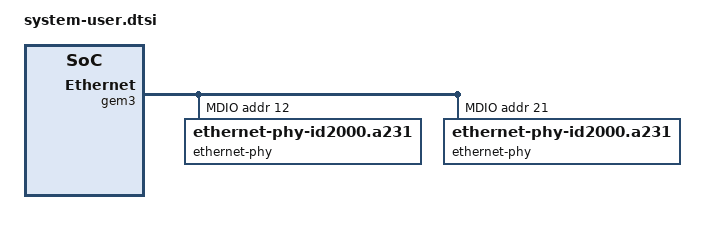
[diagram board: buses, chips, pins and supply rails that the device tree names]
// SPDX-License-Identifier: MIT
// Copyright (C) 2025-2026, Opsero Electronic Design Inc.  All rights reserved.

/*
 * SoC-side board fixups for the ZCU102 (ZynqMP), layered on top of the
 * gen-machineconf / lopper-generated cortexa53-linux.dts (which carries the PS
 * config and the PL AXI Ethernet cores from the XSA). Scoped to the Linux
 * domain by device-tree.bbappend. The external Ethernet PHY wiring is supplied
 * by the bsp/port-configs overlay (port-config.dtsi): ports-0123 for
 * zcu102_hpc0 (4 ports) and ports-01-- for zcu102_hpc1 (2 ports).
 *
 * UART: ZCU102's CP2108 bridge exposes both PSU_UART_0 and PSU_UART_1 on USB.
 * 2025.2's gen-machineconf assigns port-number=0 to uart1, making ttyPS0 map to
 * uart1. Our test/logging setup is cabled to the UART_0 CP2108 interface, so
 * force ttyPS0 back to uart0.
 */

&uart0 {
	port-number = <0>;
};
&uart1 {
	port-number = <1>;
};

/ {
	aliases {
		serial0 = &uart0;
		serial1 = &uart1;
	};
	chosen {
		stdout-path = "serial0:115200n8";
	};
};

/* PS GEM3 (board RJ45): the SDT flow does not describe the board-level
 * TI DP83867 PHY, so Linux falls back to the Generic PHY driver and the
 * RGMII clock delays are never programmed - the link negotiates 1G but
 * passes no packets. The ZCU102 PHY address depends on the board
 * revision (revA: 21, revB/rev1.0/rev1.1: 0xc), so both subnodes are
 * described and no phy-handle is set: macb scans the MDIO bus and binds
 * the address that answers, picking up that node's delay properties.
 * Values from the official zynqmp-zcu102-rev*.dts. The fixed MAC
 * replaces the random one the SDT flow leaves us with.
 */
&gem3 {
	local-mac-address = [00 0a 35 06 21 02];
	mdio {
		#address-cells = <1>;
		#size-cells = <0>;
		ethernet-phy@c {
			compatible = "ethernet-phy-id2000.a231";
			reg = <0xc>;
			ti,rx-internal-delay = <0x8>;
			ti,tx-internal-delay = <0xa>;
			ti,fifo-depth = <0x1>;
			ti,dp83867-rxctrl-strap-quirk;
		};
		ethernet-phy@21 {
			compatible = "ethernet-phy-id2000.a231";
			reg = <21>;
			ti,rx-internal-delay = <0x8>;
			ti,tx-internal-delay = <0xa>;
			ti,fifo-depth = <0x1>;
			ti,dp83867-rxctrl-strap-quirk;
		};
	};
};
